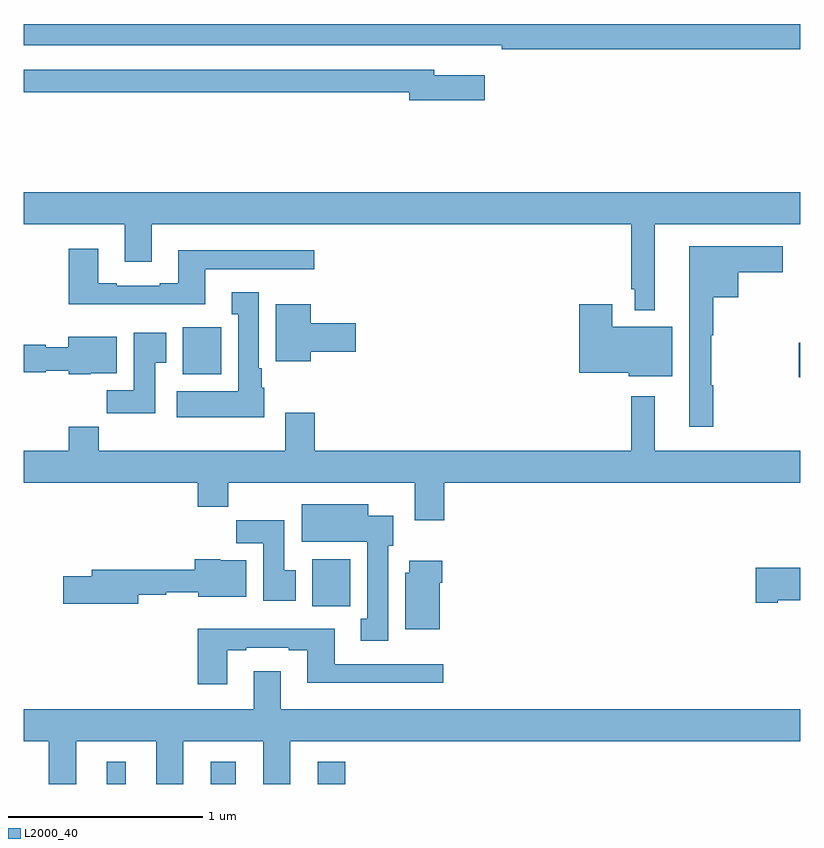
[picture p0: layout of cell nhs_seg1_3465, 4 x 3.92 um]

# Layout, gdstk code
import gdstk
lib = gdstk.Library(unit=1e-6, precision=1e-09)
def R(c, l, rs):  # rectangles x0, y0, x1, y1
    for r in rs: c.add(gdstk.rectangle(r[:2], r[2:], *l))
def P(c, l, *ps):  # polygons
    for p in ps: c.add(gdstk.Polygon(p, *l))
L2000_40 = (2000, 40)

nhs_seg1_3465 = lib.new_cell('nhs_seg1_3465')
R(nhs_seg1_3465, L2000_40, [(299.426,530.199,299.524,530.314), (299.963,530.199,300.091,530.314), (300.515,530.199,300.656,530.314), (300.485,531.116,300.682,531.358), (302.994,532.294,303,532.472), (299.819,532.31,300.016,532.552)])
P(nhs_seg1_3465, L2000_40, [(303,534.115),(299,534.115),(299,534.006),(301.21,534.006),(301.21,534.005),(301.462,534.005),(301.462,533.986),(303,533.986)],
  [(301.375,533.851),(301.114,533.851),(301.114,533.88),(299,533.88),(299,533.764),(300.986,533.764),(300.986,533.722),(301.375,533.722)],
  [(302.251,533.084),(303,533.084),(303,533.248),(299,533.248),(299,533.084),(299.519,533.084),(299.519,532.89),(299.659,532.89),(299.659,533.084),(302.13,533.084),(302.13,532.747),(302.147,532.747),(302.147,532.64),(302.251,532.64)],
  [(302.551,532.253),(302.543,532.253),(302.543,532.51),(302.551,532.51),(302.551,532.706),(302.68,532.706),(302.68,532.835),(302.911,532.835),(302.911,532.969),(302.429,532.969),(302.429,532.041),(302.551,532.041)],
  [(299.935,532.851),(300.496,532.851),(300.496,532.948),(299.795,532.948),(299.795,532.78),(299.699,532.78),(299.699,532.767),(299.479,532.767),(299.479,532.78),(299.383,532.78),(299.383,532.957),(299.231,532.957),(299.231,532.67),(299.935,532.67)],
  [(300.238,532.242),(300.226,532.242),(300.226,532.342),(300.211,532.342),(300.211,532.732),(300.071,532.732),(300.071,532.619),(300.104,532.619),(300.104,532.222),(299.787,532.222),(299.787,532.088),(300.238,532.088)],
  [(302.341,532.555),(302.032,532.555),(302.032,532.672),(301.862,532.672),(301.862,532.319),(302.118,532.319),(302.118,532.301),(302.341,532.301)],
  [(300.478,532.427),(300.709,532.427),(300.709,532.574),(300.478,532.574),(300.478,532.672),(300.299,532.672),(300.299,532.376),(300.478,532.376)],
  [(299.677,532.369),(299.734,532.369),(299.734,532.525),(299.567,532.525),(299.567,532.228),(299.428,532.228),(299.428,532.11),(299.677,532.11)],
  [(299.346,532.316),(299.479,532.316),(299.479,532.504),(299.228,532.504),(299.228,532.45),(299.112,532.45),(299.112,532.463),(299,532.463),(299,532.321),(299.112,532.321),(299.112,532.328),(299.232,532.328),(299.232,532.31),(299.346,532.31)],
  [(301.166,531.752),(303,531.752),(303,531.916),(302.251,531.916),(302.251,532.198),(302.13,532.198),(302.13,531.916),(300.5,531.916),(300.5,532.111),(300.347,532.111),(300.347,531.916),(299.387,531.916),(299.387,532.04),(299.231,532.04),(299.231,531.916),(299,531.916),(299,531.752),(299.897,531.752),(299.897,531.628),(300.053,531.628),(300.053,531.752),(301.013,531.752),(301.013,531.558),(301.166,531.558)],
  [(300.877,531.426),(300.904,531.426),(300.904,531.58),(300.775,531.58),(300.775,531.64),(300.431,531.64),(300.431,531.446),(300.77,531.446),(300.77,531.05),(300.737,531.05),(300.737,530.937),(300.877,530.937)],
  [(300.4,531.3),(300.343,531.3),(300.343,531.558),(300.094,531.558),(300.094,531.44),(300.233,531.44),(300.233,531.144),(300.4,531.144)],
  [(299.59,531.175),(299.733,531.175),(299.733,531.186),(299.898,531.186),(299.898,531.164),(300.145,531.164),(300.145,531.352),(300.012,531.352),(300.012,531.358),(299.88,531.358),(299.88,531.304),(299.351,531.304),(299.351,531.27),(299.202,531.27),(299.202,531.128),(299.59,531.128)],
  [(301.144,531.236),(301.157,531.236),(301.157,531.349),(300.986,531.349),(300.986,531.288),(300.965,531.288),(300.965,530.996),(301.144,530.996)],
  [(302.884,531.146),(303,531.146),(303,531.312),(302.772,531.312),(302.772,531.134),(302.884,531.134)],
  [(300.049,530.889),(300.145,530.889),(300.145,530.901),(300.365,530.901),(300.365,530.889),(300.461,530.889),(300.461,530.72),(301.162,530.72),(301.162,530.817),(300.601,530.817),(300.601,530.998),(299.897,530.998),(299.897,530.712),(300.049,530.712)],
  [(299.269,530.42),(299.681,530.42),(299.681,530.199),(299.821,530.199),(299.821,530.42),(300.233,530.42),(300.233,530.199),(300.373,530.199),(300.373,530.42),(303,530.42),(303,530.584),(300.325,530.584),(300.325,530.779),(300.185,530.779),(300.185,530.584),(299,530.584),(299,530.42),(299.129,530.42),(299.129,530.199),(299.269,530.199)])

lib.write_gds('nhs_seg1_3465.gds')
